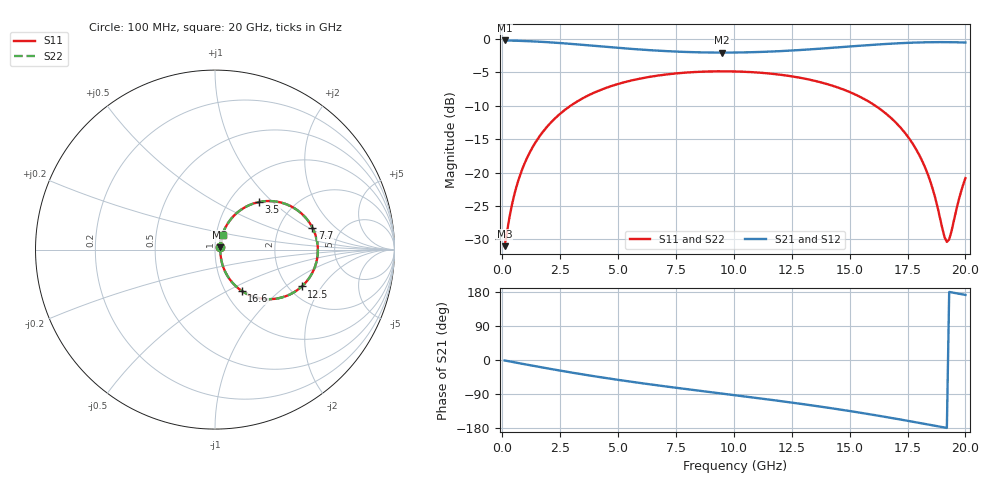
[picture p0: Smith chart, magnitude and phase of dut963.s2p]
! Touchstone file exported from HFSS 2026.1.0
!  File:  C:/ffzhzh/LocalFiles/Ansys_Project_Files/temp_train_TSV_RDL_963_1783284749_30076.aedt
!  Generated:  05:05:41 AM Jul  6, 2026
!  Design:  TSV_RDL
!  Project:  temp_train_TSV_RDL_963_1783284749_30076
! Variables:
!  h_bsmrdl = 3.23um
!  h_ox = 20um
!  h_rdl = 5um
!  h_sub = 85.56um
!  h_tmrdl = 3.1um
!  h_tsv = 85.56um
!  h_via = 3um
!  l_bsmrdl = 419.46um
!  l_sub = 3027.39um
!  l_tmrdl = 320.27um
!  m_sub = 200um
!  pitch = 36.93um
!  r_tsv = 3.4um
!  s_tmrdl = 10um
!  w_bsmrdl = 13.35um
!  w_sub = 500um
!  w_tmrdl = 15.96um
!  x_tsv_center1 = 328.25um
!  x_tsv_center2 = 761.06um
!  x_tsv_center3 = 1097.29um
!  x_tsv_center4 = 1530.1um
!  x_tsv_center5 = 1866.33um
!  x_tsv_center6 = 2299.14um
# GHz S MA R 50.000000
! Terminal data exported
! Port[1] = TM_RDL1_1_T1
! Port[2] = TM_RDL5_1_T1
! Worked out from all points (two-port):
!   200 points, 100 MHz to 20 GHz, reference 50 ohm
!   highest |S21| = -0.22 dB at 100 MHz (marker M1); lowest = -2.0 dB at 9.5 GHz (marker M2)
!   |S21| within 3 dB of the highest: start of sweep to end of sweep
!   lowest |S11| = -31.0 dB at 100 MHz (marker M3), VSWR 1.06, Z = 52.6 + j1.26 ohm
!   |S11| at or under -10 dB: start of sweep to 2.946 GHz; 16.12 GHz to end of sweep
!   |S22| runs from -31.0 to -4.8 dB; largest |S21 - S12| = 1.6e-14
!   S11 on the Smith chart (normalised r, x): 100 MHz: 1.05, +0.03; 3.5 GHz: 1.36, +0.83; 7.7 GHz: 3.08, +1.09; 12.5 GHz: 2.34, -1.33; 16.6 GHz: 1.19, -0.59; 20 GHz: 1.08, +0.17
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0.1  0.02818 25.2  0.9747 -1.2  0.9747 -1.2  0.02818 25.2
! Gamma 0 0 0 0
! Port Impedance 50 0 50 0
0.4  0.05573 56.8  0.9723 -4.7  0.9723 -4.7  0.05573 56.8
0.6  0.07736 62.3  0.97 -7.0  0.97 -7.0  0.07736 62.3
1.2  0.1431 64.7  0.9615 -13.8  0.9615 -13.8  0.1431 64.7
2.2  0.2472 58.4  0.9401 -24.8  0.9401 -24.8  0.2472 58.4
3.5  0.362 47.1  0.903 -38.3  0.903 -38.3  0.362 47.1
5  0.4606 34.1  0.8583 -52.4  0.8583 -52.4  0.4606 34.1
6.8  0.5347 19.6  0.8161 -67.7  0.8161 -67.7  0.5347 19.6
7.7  0.5563 12.7  0.8022 -74.8  0.8022 -74.8  0.5563 12.7
9.5  0.5731 -0.6  0.7908 -88.7  0.7908 -88.7  0.5731 -0.6
10.1  0.5712 -5.0  0.7919 -93.3  0.7919 -93.3  0.5712 -5.0
12.5  0.5253 -23.0  0.8196 -112.4  0.8196 -112.4  0.5253 -23.0
13.4  0.4905 -30.2  0.8383 -120.0  0.8383 -120.0  0.4905 -30.2
15.2  0.3872 -45.2  0.8836 -136.6  0.8836 -136.6  0.3872 -45.2
16.6  0.2738 -57.1  0.9183 -150.7  0.9183 -150.7  0.2738 -57.1
16.7  0.2647 -57.9  0.9204 -151.8  0.9204 -151.8  0.2647 -57.9
17.5  0.1874 -63.5  0.9353 -160.4  0.9353 -160.4  0.1873 -63.5
18.2  0.1154 -65.1  0.9437 -168.1  0.9437 -168.1  0.1154 -65.1
18.6  0.07433 -60.6  0.9462 -172.6  0.9462 -172.6  0.0743 -60.6
19.2  0.03032 -4.5  0.9466 -179.3  0.9466 -179.3  0.03027 -4.5
19.3  0.03166 14.8  0.9463 179.6  0.9463 179.6  0.03162 14.9
20  0.09098 60.7  0.9409 171.8  0.9409 171.8  0.09098 60.8
